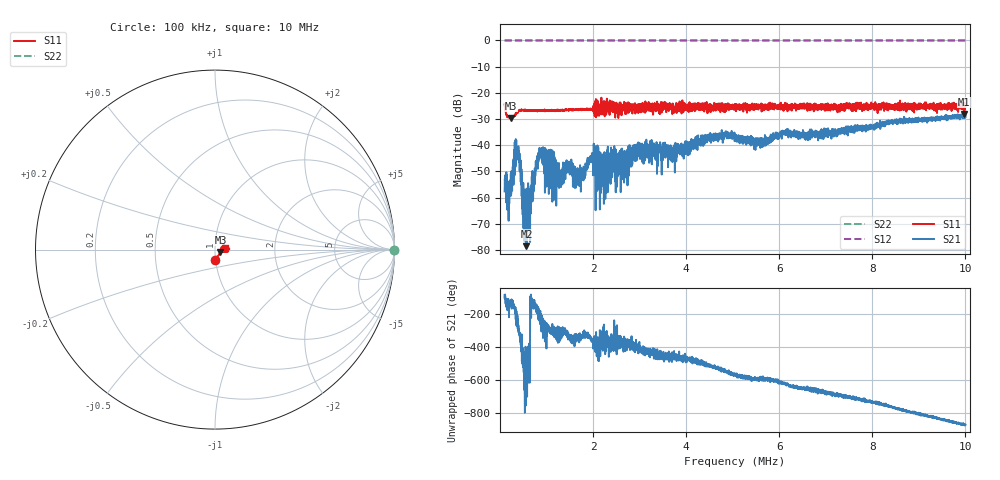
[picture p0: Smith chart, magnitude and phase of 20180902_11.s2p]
! Anritsu VNA Master:  Model: MS2026C/19
! SN:  1815009
! /card0/usr/20180902_11.s2p
! Existing Calibration Information:
! TYPE:  Current Settings,  Active Cal Settings
! TIME:  09/02/2018 12:43:46 PM,  09/02/2018 11:58:48 AM
! INTERNAL TEMP:  53.3 C,  48.8 C
! # POINTS:  4001,  4001
! START FREQ:  100.000 kHz,  100.000 kHz
! STOP FREQ:  10.000 MHz,  10.000 MHz
! SOURCE POWER:  Low,  Low
! IFBW:  500 Hz,  500 Hz
! AVG FACTOR:  5 ,  1
! REF PLANE 1:  0 mm,  0 mm
! REF PLANE 2:  0 mm,  0 mm
! CAL TYPE:  1P2P S11,S21,  1P2P S11,S21
! CAL METHOD:  SOLT,  SOLT
! CAL LINE TYPE:  Coax,  Coax
! DUT PORT 1:  N-Conn(M),  N-Conn(M)
! DUT PORT 2:  N-Conn(M),  N-Conn(M)
! CAL STATUS:  OK: Accuracy High,  --
# GHZ S RI R 50.0
! FREQ.GHZ  S11RE  S11IM  S21RE  S21IM  S12RE  S12IM  S22RE  S22IM
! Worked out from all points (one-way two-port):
!   4001 points, 100 kHz to 10 MHz, reference 50 ohm
!   highest |S21| = -28.05 dB at 9.96 MHz (marker M1); lowest = -78.5 dB at 570.2 kHz (marker M2)
!   lowest |S11| = -29.6 dB at 236.1 kHz (marker M3), VSWR 1.07, Z = 53.1 - j1.46 ohm
!   |S11| at or under -10 dB: start of sweep to end of sweep
!   |S22| runs from 0.0 to 0.0 dB; largest |S21 - S12| = 1
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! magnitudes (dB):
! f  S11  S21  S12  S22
! 100 kHz  -24.4  -57.6  0.0  0.0
! 236.1 kHz  -29.6  -58.6  0.0  0.0
! 377.2 kHz  -27.2  -41.1  0.0  0.0
! 424.2 kHz  -26.7  -50.0  0.0  0.0
! 523.2 kHz  -26.6  -76.4  0.0  0.0
! 570.2 kHz  -26.6  -78.5  0.0  0.0
! 607.4 kHz  -26.9  -61.9  0.0  0.0
! 773.2 kHz  -26.8  -49.7  0.0  0.0
! 882.1 kHz  -26.8  -43.0  0.0  0.0
! 1.278 MHz  -26.5  -51.5  0.0  0.0
! 1.471 MHz  -26.6  -48.5  0.0  0.0
! 1.751 MHz  -26.3  -53.4  0.0  0.0
! 1.998 MHz  -26.2  -45.2  0.0  0.0
! 2.276 MHz  -23.7  -52.3  0.0  0.0
! 2.436 MHz  -25.2  -47.5  0.0  0.0
! 3.402 MHz  -25.5  -42.1  0.0  0.0
! 5.05 MHz  -25.0  -37.6  0.0  0.0
! 5.56 MHz  -25.8  -39.2  0.0  0.0
! 6.701 MHz  -25.3  -34.5  0.0  0.0
! 8.352 MHz  -25.3  -31.3  0.0  0.0
! 9.96 MHz  -25.9  -28.1  0.0  0.0
! 10 MHz  -25.2  -28.5  0.0  0.0
